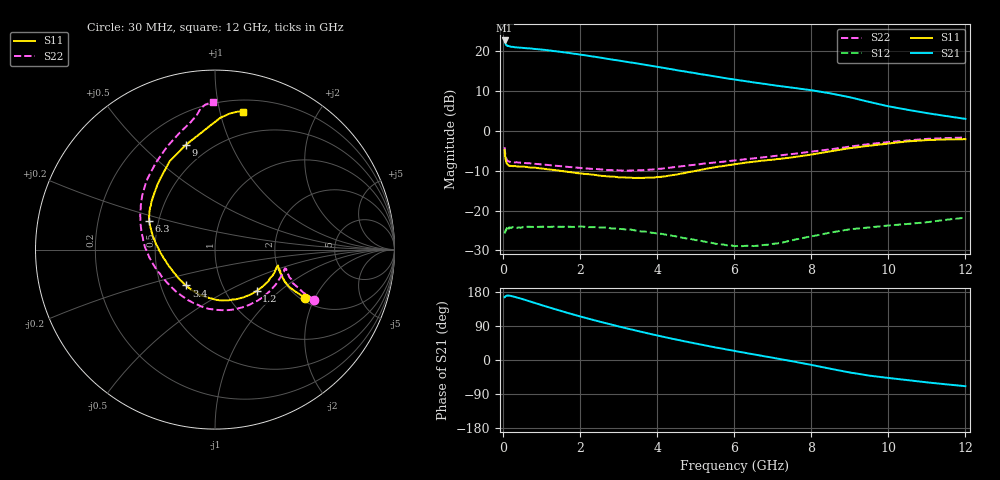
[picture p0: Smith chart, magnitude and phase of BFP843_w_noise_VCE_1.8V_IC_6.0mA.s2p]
! Infineon Technologies  Discrete & RF Semiconductors
! BFP843
! VCE =  1.8 V,  IC =  6.0 mA
! Common Emitter S-Parameters:  Aug 2013
# GHz  S  MA  R  50
!  f  S11  S21  S12  S22
! GHz  MAG  ANG  MAG  ANG  MAG  ANG  MAG  ANG
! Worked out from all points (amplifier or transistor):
!   103 points, 30 MHz to 12 GHz, reference 50 ohm
!   highest |S21| = 22.6 dB at 30 MHz (marker M1)
!   |S21| within 3 dB of that: start of sweep to 1.592 GHz
!   unconditionally stable (mu >= 1): 138.4 MHz to 143.3 MHz; 166.4 MHz to 10.94 GHz
!   at 400 MHz: K = 1.01, MAG = 21.9 dB, |S12| = -24.2 dB
!   at 3.7 GHz: K = 1.26, MAG = 17.8 dB, |S12| = -25.3 dB
!   at 12 GHz: K = 0.82, MSG = 12.4 dB, |S12| = -21.8 dB
!   lowest NFmin = 0.92 dB at 450 MHz
!   S11 on the Smith chart (normalised r, x): 30 MHz: 2.11, -1.69; 1.2 GHz: 1.39, -0.72; 3.4 GHz: 0.67, -0.29; 6.3 GHz: 0.44, +0.17; 9 GHz: 0.37, +0.69; 12 GHz: 0.29, +1.18
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0.03  0.5718 -28.2  13.54 165.6  0.0518 31.0  0.6196 -26.7
0.04  0.5002 -27.5  12.82 166.2  0.0538 26.8  0.5455 -25.9
0.05  0.4614 -26.7  12.4 168.3  0.0542 22.6  0.5034 -24.4
0.07  0.4071 -22.4  11.9 169.3  0.0567 18.6  0.4564 -21.2
0.1  0.3819 -17.8  11.57 170.0  0.0581 11.0  0.4241 -18.1
0.13  0.3689 -16.2  11.56 170.2  0.0608 10.3  0.4135 -15.8
0.2  0.3626 -14.1  11.26 168.9  0.0608 5.5  0.4036 -15.0
0.7  0.3456 -27.3  10.76 154.2  0.0626 -0.4  0.3909 -29.8
1.2  0.3271 -44.8  10.14 138.4  0.0624 -4.5  0.371 -49.8
1.7  0.3043 -63.3  9.442 123.3  0.0628 -7.9  0.3518 -69.2
2.1  0.288 -78.6  8.853 112.0  0.0627 -11.6  0.3383 -85.0
2.6  0.2713 -97.4  8.136 98.7  0.0613 -15.0  0.3261 -103.5
3.4  0.2561 -128.8  7.067 78.7  0.0566 -21.1  0.3191 -133.1
4.1  0.2649 -154.3  6.199 62.4  0.0512 -24.8  0.3344 -156.0
5  0.315 179.1  5.25 43.3  0.0426 -24.5  0.3767 -177.1
6.1  0.3862 159.7  4.313 22.1  0.0361 -13.5  0.4297 163.6
6.3  0.3993 156.6  4.178 18.5  0.0362 -10.8  0.4407 160.4
7.4  0.4574 138.2  3.521 -1.4  0.0414 2.5  0.5057 143.3
8.5  0.5536 117.1  2.936 -23.2  0.0531 4.7  0.5862 124.1
9  0.6049 105.7  2.63 -33.0  0.0583 1.9  0.6335 114.8
10.5  0.7359 87.6  1.832 -53.1  0.068 -3.5  0.7563 97.7
12  0.7841 78.7  1.41 -69.1  0.0814 -11.3  0.8223 90.9
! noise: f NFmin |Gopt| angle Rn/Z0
0.45  0.92  0.15  7  0
0.9  0.93  0.15  17  0.03
1.5  0.96  0.15  27  0.1
1.9  0.99  0.13  40  0.18
2.4  1.03  0.11  49  0.25
3.5  1.1  0.09  63  0.29
5.5  1.25  0.14  -148  0.37
10  1.97  0.51  -72  0.43
